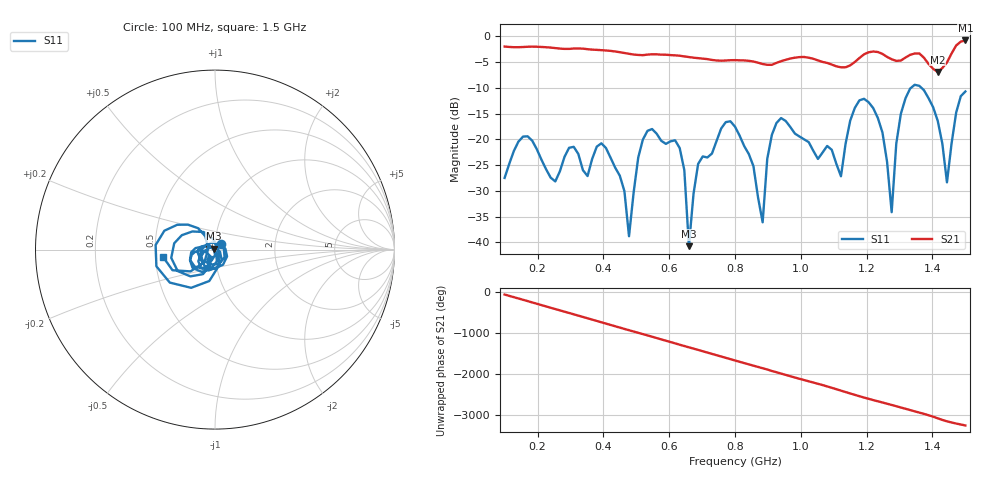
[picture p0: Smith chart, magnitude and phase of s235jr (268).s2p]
! NanoVNA-App
! Date: 2025-09-25 15:06:15
! Start: 100MHz Stop: 1,5GHz Points: 101
! S-Parameter data: F S11 S21 S12 S22
# Hz S RI R 50
!  Frequency  S11_Real  S11_Imag  S21_Real  S21_Imag  S12_Real  S12_Imag  S22_Real  S22_Imag
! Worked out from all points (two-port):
!   101 points, 100 MHz to 1.5 GHz, reference 50 ohm
!   highest |S21| = -0.78 dB at 1.5 GHz (marker M1); lowest = -6.9 dB at 1.416 GHz (marker M2)
!   |S21| within 3 dB of the highest: start of sweep to 635.7 MHz; 1.186 GHz to 1.257 GHz (71.42 MHz wide, 5.85 % of centre) (the widest 2 of 4)
!   lowest |S11| = -40.7 dB at 660 MHz (marker M3), VSWR 1.02, Z = 49.3 + j0.538 ohm
!   |S11| at or under -10 dB: start of sweep to 1.334 GHz; 1.367 GHz to end of sweep
!   S12 and S22 are empty: the file has one direction only
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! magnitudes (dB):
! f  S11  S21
! 100 MHz  -27.5  -2.0
! 156 MHz  -19.4  -2.1
! 338 MHz  -26.0  -2.4
! 408 MHz  -21.7  -2.7
! 478 MHz  -38.8  -3.4
! 520 MHz  -20.0  -3.6
! 576 MHz  -20.3  -3.5
! 632 MHz  -21.7  -3.7
! 660 MHz  -40.7  -4.0
! 688 MHz  -24.7  -4.2
! 800 MHz  -17.5  -4.6
! 884 MHz  -36.1  -5.3
! 926 MHz  -16.8  -5.1
! 1.038 GHz  -22.2  -4.3
! 1.122 GHz  -27.1  -6.0
! 1.206 GHz  -12.8  -3.1
! 1.276 GHz  -34.1  -4.4
! 1.29 GHz  -20.8  -4.7
! 1.332 GHz  -10.1  -3.6
! 1.416 GHz  -16.4  -6.9
! 1.444 GHz  -28.3  -5.1
! 1.5 GHz  -10.7  -0.8
